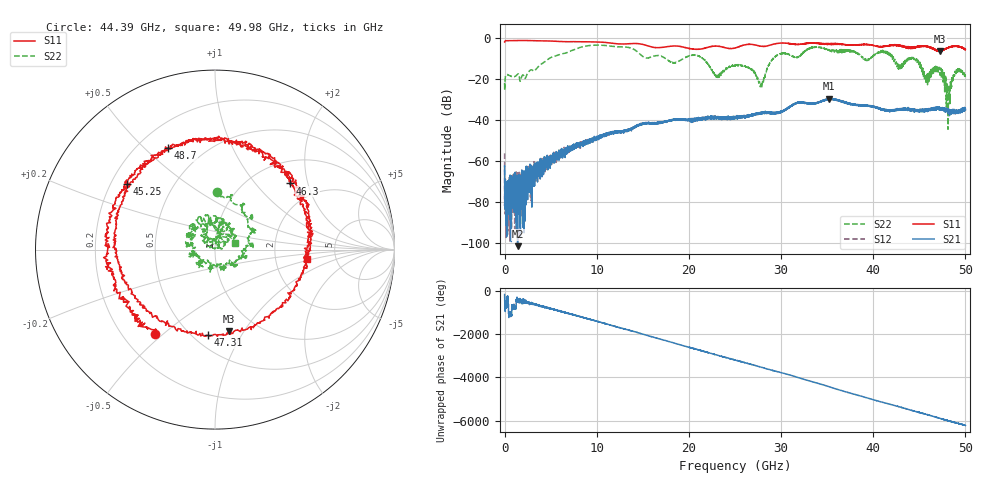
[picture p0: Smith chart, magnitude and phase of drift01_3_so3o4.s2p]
!Created with skrf (http://scikit-rf.org).
# Hz S RI R 50.0
!freq ReS11 ImS11 ReS21 ImS21 ReS12 ImS12 ReS22 ImS22
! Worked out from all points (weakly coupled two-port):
!   10001 points, 300 kHz to 50 GHz, reference 50 ohm
!   highest |S21| = -29.60 dB at 35.24 GHz (marker M1); lowest = -101.4 dB at 1.41 GHz (marker M2)
!   lowest |S11| = -6.7 dB at 47.21 GHz (marker M3), VSWR 2.72, Z = 37.1 - j43 ohm
!   |S11| at or under -10 dB: nowhere
!   |S22| runs from -44.5 to -3.6 dB; largest |S21 - S12| = 0.0039
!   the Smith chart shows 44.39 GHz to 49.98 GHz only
!   S11 on the Smith chart (normalised r, x): 44.39 GHz: 0.33, -0.47; 45.25 GHz: 0.27, +0.31; 46.3 GHz: 1.45, +1.55; 47.31 GHz: 0.59, -0.73; 48.7 GHz: 0.32, +0.59; 49.98 GHz: 3.04, -0.42
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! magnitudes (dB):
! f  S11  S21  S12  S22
! 300 kHz  -2.1  -62.5  -56.3  -22.0
! 255.3 MHz  -1.4  -72.1  -75.0  -18.0
! 1.41 GHz  -1.4  -101.4  -66.7  -17.8
! 8.335 GHz  -2.0  -51.1  -51.0  -4.6
! 16.67 GHz  -4.9  -41.7  -41.5  -8.7
! 20.96 GHz  -5.6  -39.5  -39.8  -8.7
! 23.07 GHz  -4.1  -39.0  -39.1  -18.5
! 25 GHz  -5.0  -39.0  -38.9  -13.6
! 27.83 GHz  -4.1  -36.6  -36.5  -22.5
! 29.47 GHz  -2.9  -36.7  -36.6  -8.8
! 33.34 GHz  -2.7  -32.1  -32.0  -4.7
! 35.24 GHz  -2.9  -29.6  -30.1  -5.9
! 41.67 GHz  -3.9  -35.4  -35.3  -7.6
! 44.39 GHz  -4.8  -35.1  -35.3  -9.9
! 45.25 GHz  -4.3  -35.2  -35.2  -14.9
! 46.3 GHz  -5.1  -35.1  -34.8  -15.4
! 47.21 GHz  -6.7  -34.1  -34.6  -16.7
! 47.31 GHz  -6.4  -34.4  -34.7  -15.2
! 48.13 GHz  -4.9  -36.0  -35.1  -35.6
! 48.7 GHz  -4.1  -36.3  -36.3  -18.5
! 49.98 GHz  -5.8  -35.0  -35.1  -18.5
! 50 GHz  -5.8  -35.2  -35.2  -18.5
